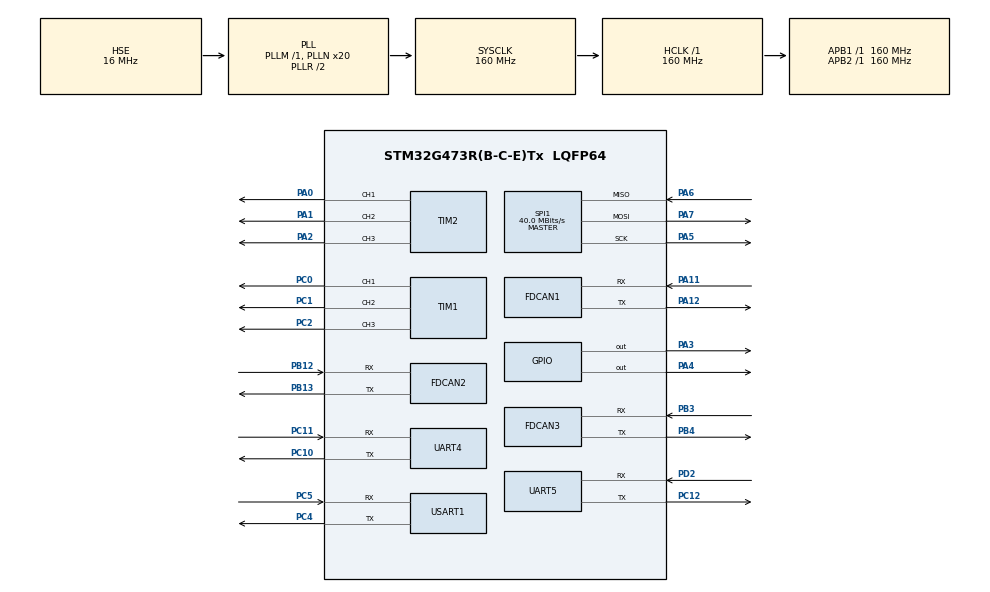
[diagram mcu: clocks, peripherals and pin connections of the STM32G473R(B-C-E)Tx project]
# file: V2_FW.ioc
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FDCAN1.AutoRetransmission=ENABLE
FDCAN1.CalculateBaudRateNominal=1000000
FDCAN1.CalculateTimeBitNominal=1000
FDCAN1.CalculateTimeQuantumNominal=100.0
FDCAN1.ExtFiltersNbr=1
FDCAN1.NominalPrescaler=16
FDCAN1.NominalTimeSeg1=8
FDCAN1.StdFiltersNbr=1
FDCAN2.AutoRetransmission=ENABLE
FDCAN2.CalculateBaudRateNominal=1000000
FDCAN2.CalculateTimeBitNominal=1000
FDCAN2.CalculateTimeQuantumNominal=100.0
FDCAN2.ExtFiltersNbr=1
FDCAN2.NominalPrescaler=16
FDCAN2.NominalTimeSeg1=8
FDCAN2.StdFiltersNbr=1
FDCAN3.AutoRetransmission=ENABLE
FDCAN3.CalculateBaudRateNominal=1000000
FDCAN3.CalculateTimeBitNominal=1000
FDCAN3.CalculateTimeQuantumNominal=100.0
FDCAN3.ExtFiltersNbr=1
FDCAN3.NominalPrescaler=16
FDCAN3.NominalTimeSeg1=8
FDCAN3.StdFiltersNbr=1
Mcu.Family=STM32G4
Mcu.Name=STM32G473R(B-C-E)Tx
Mcu.Package=LQFP64
NVIC.FDCAN1_IT0_IRQn=true\:0\:0\:false\:false\:true\:true\:true\:true
NVIC.FDCAN1_IT1_IRQn=true\:0\:0\:false\:false\:true\:true\:true\:true
NVIC.FDCAN2_IT0_IRQn=true\:0\:0\:false\:false\:true\:true\:true\:true
NVIC.FDCAN2_IT1_IRQn=true\:0\:0\:false\:false\:true\:true\:true\:true
NVIC.FDCAN3_IT0_IRQn=true\:0\:0\:false\:false\:true\:true\:true\:true
NVIC.FDCAN3_IT1_IRQn=true\:0\:0\:false\:false\:true\:true\:true\:true
NVIC.PriorityGroup=NVIC_PRIORITYGROUP_4
PA0.Signal=S_TIM2_CH1
PA1.Signal=S_TIM2_CH2
PA11.Mode=FDCAN_Activate
PA11.Signal=FDCAN1_RX
PA12.Mode=FDCAN_Activate
PA12.Signal=FDCAN1_TX
PA13.Mode=Serial_Wire
PA13.Signal=SYS_JTMS-SWDIO
PA14.Mode=Serial_Wire
PA14.Signal=SYS_JTCK-SWCLK
PA2.Signal=S_TIM2_CH3
PA3.Signal=GPIO_Output
PA4.GPIO_Speed=GPIO_SPEED_FREQ_VERY_HIGH
PA4.Signal=GPIO_Output
PA5.GPIO_Speed=GPIO_SPEED_FREQ_VERY_HIGH
PA5.Mode=Full_Duplex_Master
PA5.Signal=SPI1_SCK
PA6.GPIO_Speed=GPIO_SPEED_FREQ_VERY_HIGH
PA6.Mode=Full_Duplex_Master
PA6.Signal=SPI1_MISO
PA7.GPIO_Speed=GPIO_SPEED_FREQ_VERY_HIGH
PA7.Mode=Full_Duplex_Master
PA7.Signal=SPI1_MOSI
PB12.Mode=FDCAN_Activate
PB12.Signal=FDCAN2_RX
PB13.Mode=FDCAN_Activate
PB13.Signal=FDCAN2_TX
PB3.Mode=FDCAN_Activate
PB3.Signal=FDCAN3_RX
PB4.Mode=FDCAN_Activate
PB4.Signal=FDCAN3_TX
PC0.Signal=S_TIM1_CH1
PC1.Signal=S_TIM1_CH2
PC10.Mode=Asynchronous
PC10.Signal=UART4_TX
PC11.Mode=Asynchronous
PC11.Signal=UART4_RX
PC12.Mode=Asynchronous
PC12.Signal=UART5_TX
PC2.Signal=S_TIM1_CH3
PC4.Mode=Asynchronous
PC4.Signal=USART1_TX
PC5.Mode=Asynchronous
PC5.Signal=USART1_RX
PD2.Mode=Asynchronous
PD2.Signal=UART5_RX
PF0-OSC_IN.Mode=HSE-External-Oscillator
PF0-OSC_IN.Signal=RCC_OSC_IN
PF1-OSC_OUT.Mode=HSE-External-Oscillator
PF1-OSC_OUT.Signal=RCC_OSC_OUT
ProjectManager.HeapSize=0x200
ProjectManager.StackSize=0x400
ProjectManager.TargetToolchain=Makefile
RCC.ADC12Freq_Value=160000000
RCC.ADC345Freq_Value=160000000
RCC.AHBFreq_Value=160000000
RCC.APB1Freq_Value=160000000
RCC.APB1TimFreq_Value=160000000
RCC.APB2Freq_Value=160000000
RCC.APB2TimFreq_Value=160000000
RCC.CortexFreq_Value=160000000
RCC.EXTERNAL_CLOCK_VALUE=12288000
RCC.HCLKFreq_Value=160000000
RCC.HSE_VALUE=16000000
RCC.HSI48_VALUE=48000000
RCC.HSI_VALUE=16000000
RCC.LSE_VALUE=32768
RCC.PLLN=20
RCC.PLLQ=RCC_PLLQ_DIV4
RCC.PLLSourceVirtual=RCC_PLLSOURCE_HSE
RCC.SYSCLKFreq_VALUE=160000000
RCC.SYSCLKSource=RCC_SYSCLKSOURCE_PLLCLK
RCC.USBFreq_Value=80000000
RCC.VCOOutputFreq_Value=320000000
SH.S_TIM1_CH1.0=TIM1_CH1,PWM Generation1 CH1
SH.S_TIM1_CH2.0=TIM1_CH2,PWM Generation2 CH2
SH.S_TIM1_CH3.0=TIM1_CH3,PWM Generation3 CH3
SH.S_TIM2_CH1.0=TIM2_CH1,PWM Generation1 CH1
SH.S_TIM2_CH2.0=TIM2_CH2,PWM Generation2 CH2
SH.S_TIM2_CH3.0=TIM2_CH3,PWM Generation3 CH3
SPI1.BaudRatePrescaler=SPI_BAUDRATEPRESCALER_4
SPI1.CLKPhase=SPI_PHASE_1EDGE
SPI1.CRCCalculation=SPI_CRCCALCULATION_DISABLE
SPI1.CalculateBaudRate=40.0 MBits/s
SPI1.DataSize=SPI_DATASIZE_8BIT
SPI1.Direction=SPI_DIRECTION_2LINES
SPI1.Mode=SPI_MODE_MASTER
SPI1.VirtualType=VM_MASTER
TIM1.Channel-PWM\ Generation1\ CH1=TIM_CHANNEL_1
TIM1.Channel-PWM\ Generation2\ CH2=TIM_CHANNEL_2
TIM1.Channel-PWM\ Generation3\ CH3=TIM_CHANNEL_3
TIM2.Channel-PWM\ Generation1\ CH1=TIM_CHANNEL_1
TIM2.Channel-PWM\ Generation2\ CH2=TIM_CHANNEL_2
TIM2.Channel-PWM\ Generation3\ CH3=TIM_CHANNEL_3
USART1.VirtualMode-Asynchronous=VM_ASYNC
VP_SYS_VS_DBSignals.Mode=DisableDeadBatterySignals
board=custom

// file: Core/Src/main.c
/* USER CODE BEGIN Header */
/**
 ******************************************************************************
 * @file           : main.c
 * @brief          : Main program body
 ******************************************************************************
 * @attention
 *
 * Copyright (c) 2026 STMicroelectronics.
 * All rights reserved.
 *
 * This software is licensed under terms that can be found in the LICENSE file
 * in the root directory of this software component.
 * If no LICENSE file comes with this software, it is provided AS-IS.
 *
 ******************************************************************************
 */
/* USER CODE END Header */
#include "main.h"
#include "fdcan.h"
#include "spi.h"
#include "tim.h"
#include "usart.h"
#include "gpio.h"

/* USER CODE BEGIN Includes */
#include "wizchip_conf.h"
#include "socket.h"
#include "w5500_port.h"
#include "can_gateway.h"
#include <string.h>
#include <stdio.h>
/* USER CODE END Includes */

/* USER CODE BEGIN PV */
extern volatile uint32_t systick_irq_count; /* stm32g4xx_it.c で定義 */
wiz_NetInfo gWIZNETINFO = {
    .mac = {0x00, 0x08, 0xDC, 0x12, 0x34, 0x56},
    .ip = {192, 168, 1, 100},
    .sn = {255, 255, 255, 0},
    .gw = {192, 168, 1, 1},
    .dns = {8, 8, 8, 8},
    .dhcp = NETINFO_STATIC};

#define SOCK_TCPS 0
#define PORT_TCPS 5000
#define DATA_BUF_SIZE 2048
uint8_t gDATABUF[DATA_BUF_SIZE];
/* USER CODE END PV */

void SystemClock_Config(void);
/* USER CODE BEGIN PFP */
void W5500_Init(void);
/* USER CODE END PFP */

/* USER CODE BEGIN 0 */

/* -----------------------------------------------------------------------
 * DWT サイクルカウンタによる HAL_GetTick / HAL_Delay オーバーライド
 * SysTick 割り込み不要のため絶対にハングしない
 * ----------------------------------------------------------------------- */
// static void DWT_Init(void)
// {
//     CoreDebug->DEMCR |= CoreDebug_DEMCR_TRCENA_Msk;
//     DWT->CYCCNT = 0;
//     DWT->CTRL |= DWT_CTRL_CYCCNTENA_Msk;
// }

// static volatile uint32_t dwt_ms_ovf = 0;
// static volatile uint32_t dwt_last = 0;

// uint32_t HAL_GetTick(void)
// {
//     uint32_t cyc = DWT->CYCCNT;
//     if (cyc < dwt_last)
//         dwt_ms_ovf++;
//     dwt_last = cyc;
//     uint64_t total = ((uint64_t)dwt_ms_ovf << 32) | cyc;
//     return (uint32_t)(total / (SystemCoreClock / 1000U));
// }

// void HAL_Delay(uint32_t Delay)
// {
//     uint32_t start = DWT->CYCCNT;
//     uint32_t cycles = Delay * (SystemCoreClock / 1000U);
//     while ((DWT->CYCCNT - start) < cycles)
//         ;
// }
/* ----------------------------------------------------------------------- */

/**
 * @brief  TCP Echo Server (Loopback)
 * @param  sn: Socket number
 * @param  buf: Data buffer
 * @param  port: Port number
 * @retval Received data size
 */
int32_t loopback_tcps(uint8_t sn, uint8_t *buf, uint16_t port)
{
    int32_t ret;
    uint16_t size = 0, sentsize = 0;
    static uint8_t last_status = 0xFF;
    uint8_t current_status = getSn_SR(sn);

    // Display status change
    if (current_status != last_status)
    {
        printf("Socket status changed: 0x%02X\r\n", current_status);
        last_status = current_status;
    }

    switch (current_status)
    {
    case SOCK_ESTABLISHED:
        if (getSn_IR(sn) & Sn_IR_CON)
        {
            printf("Client connected!\r\n");
            uint8_t destip[4];
            uint16_t destport;
            getSn_DIPR(sn, destip);
            destport = getSn_DPORT(sn);
            printf("Connected from: %d.%d.%d.%d:%d\r\n",
                   destip[0], destip[1], destip[2], destip[3], destport);
            setSn_IR(sn, Sn_IR_CON);
        }

        // Check received data size
        if ((size = getSn_RX_RSR(sn)) > 0)
        {
            if (size > DATA_BUF_SIZE)
                size = DATA_BUF_SIZE;
            ret = recv(sn, buf, size);

            if (ret <= 0)
            {
                printf("Receive error: %d\r\n", ret);
                return ret;
            }

            printf("Received %d bytes: ", ret);
            for (int i = 0; i < ret && i < 64; i++)
            {
                if (buf[i] >= 32 && buf[i] < 127)
                    printf("%c", buf[i]);
                else
                    printf(".");
            }
            printf("\r\n");

            // Echo back received data
            sentsize = 0;
            while (size != sentsize)
            {
                ret = send(sn, buf + sentsize, size - sentsize);
                if (ret < 0)
                {
                    printf("Send error: %d\r\n", ret);
                    close(sn);
                    return ret;
                }
                sentsize += ret;
            }
            printf("Sent %d bytes\r\n", sentsize);
        }
        break;

    case SOCK_CLOSE_WAIT:
        printf("Client disconnect request\r\n");
        if ((ret = disconnect(sn)) != SOCK_OK)
            return ret;
        printf("Disconnected\r\n");
        break;

    case SOCK_INIT:
        printf("Start listening (port:%d)\r\n", port);
        if ((ret = listen(sn)) != SOCK_OK)
        {
            printf("Listen failed: %d\r\n", ret);
            return ret;
        }
        printf("Waiting for connection...\r\n");
        break;

    case SOCK_CLOSED:
        printf("Create socket (port:%d)\r\n", port);
        if ((ret = socket(sn, Sn_MR_TCP, port, 0x00)) != sn)
        {
            printf("Socket creation failed: %d\r\n", ret);
            return ret;
        }
        break;

    default:
        break;
    }

    return 1;
}

void W5500_Init(void)
{
    uint8_t tmp;
    uint8_t memsize[2][8] = {{16, 0, 0, 0, 0, 0, 0, 0}, {16, 0, 0, 0, 0, 0, 0, 0}};

    printf("\r\n=== W5500 Initialization Start ===\r\n");

    // SPI Test
    printf("SPI communication test...\r\n");
    if (W5500_SPI_Test())
    {
        printf("SPI communication: OK\r\n");
    }
    else
    {
        printf("ERROR: SPI communication failed\r\n");
        while (1)
            ;
    }

    // W5500 Hardware Reset
    printf("W5500 hardware reset...\r\n");
    W5500_HW_Reset();
    printf("Reset complete\r\n");

    // Deselect CS
    W5500_Deselect();

    // Register callback functions
    printf("Registering callback functions...\r\n");
    reg_wizchip_cs_cbfunc(W5500_Select, W5500_Deselect);
    reg_wizchip_spi_cbfunc(W5500_ReadByte, W5500_WriteByte);
    reg_wizchip_spiburst_cbfunc(W5500_ReadBuf, W5500_WriteBuf);
    printf("Callback registration complete\r\n");

    // W5500 Chip initialization
    printf("W5500 chip initialization...\r\n");
    if (ctlwizchip(CW_INIT_WIZCHIP, (void *)memsize) == -1)
    {
        printf("ERROR: Chip initialization failed\r\n");
        while (1)
            ;
    }
    printf("Chip initialization complete\r\n");

    HAL_Delay(100);

    // PHY Link status check (wait indefinitely)
    printf("Checking PHY link status...\r\n");
    {
        uint32_t retry = 0;
        do
        {
            if (ctlwizchip(CW_GET_PHYLINK, (void *)&tmp) == -1)
            {
                printf("ERROR: Failed to get PHY link status\r\n");
                HAL_Delay(500);
                continue;
            }
            if (tmp == PHY_LINK_OFF)
            {
                retry++;
                if (retry % 10 == 1) // 5秒ごとにメッセージ表示
                {
                    printf("Waiting for PHY link... (%lus elapsed)\r\n",
                           retry / 2);
                }
                HAL_Delay(500);
            }
        } while (tmp == PHY_LINK_OFF);
    }
    printf("PHY link established!\r\n");

    // Network configuration
    printf("Configuring network...\r\n");
    ctlnetwork(CN_SET_NETINFO, (void *)&gWIZNETINFO);

    // TCP retry: RCR=1 (1 retry), RTR=100 (10ms timeout per retry)
    setRCR(1);
    setRTR(100);

    // Verify configuration
    wiz_NetInfo tmp_info;
    ctlnetwork(CN_GET_NETINFO, (void *)&tmp_info);

    printf("\r\n--- Network Configuration ---\r\n");
    printf("MAC: %02X:%02X:%02X:%02X:%02X:%02X\r\n",
           tmp_info.mac[0], tmp_info.mac[1], tmp_info.mac[2],
           tmp_info.mac[3], tmp_info.mac[4], tmp_info.mac[5]);
    printf("IP: %d.%d.%d.%d\r\n",
           tmp_info.ip[0], tmp_info.ip[1], tmp_info.ip[2], tmp_info.ip[3]);
    printf("SN: %d.%d.%d.%d\r\n",
           tmp_info.sn[0], tmp_info.sn[1], tmp_info.sn[2], tmp_info.sn[3]);
    printf("GW: %d.%d.%d.%d\r\n",
           tmp_info.gw[0], tmp_info.gw[1], tmp_info.gw[2], tmp_info.gw[3]);
    printf("=== W5500 Initialization Complete ===\r\n\r\n");

    // W5500 chip version check
    printf("--- Chip Information ---\r\n");
    uint8_t version = getVERSIONR();
    printf("W5500 Version: 0x%02X\r\n", version);

    // Register read/write test
    printf("\r\n--- Register Test ---\r\n");
    wiz_NetInfo read_info;
    ctlnetwork(CN_GET_NETINFO, (void *)&read_info);
    printf("Read test - IP: %d.%d.%d.%d\r\n",
           read_info.ip[0], read_info.ip[1], read_info.ip[2], read_info.ip[3]);

    // Socket 0 status check
    uint8_t sock_status = getSn_SR(0);
    printf("Socket 0 initial status: 0x%02X\r\n", sock_status);

    // PHY configuration check
    uint8_t phycfgr = getPHYCFGR();
    printf("\r\n--- PHY Configuration ---\r\n");
    printf("PHYCFGR: 0x%02X\r\n", phycfgr);
    if (phycfgr & 0x01)
    {
        printf("Link status: UP\r\n");
    }
    else
    {
        printf("Link status: DOWN\r\n");
    }

    printf("\r\n[IMPORTANT] W5500 does not support ICMP (ping)\r\n");
    printf("Please test with TCP connection instead of ping:\r\n");
    printf("  telnet %d.%d.%d.%d %d\r\n",
           tmp_info.ip[0], tmp_info.ip[1], tmp_info.ip[2], tmp_info.ip[3], PORT_TCPS);
    printf("or\r\n");
    printf("  nc %d.%d.%d.%d %d\r\n",
           tmp_info.ip[0], tmp_info.ip[1], tmp_info.ip[2], tmp_info.ip[3], PORT_TCPS);
    printf("-----------------------------\r\n\r\n");
}
/* USER CODE END 0 */

int main(void)
{

    /* MCU Configuration--------------------------------------------------------*/

    /* Reset of all peripherals, Initializes the Flash interface and the Systick. */
    HAL_Init();

    /* USER CODE BEGIN Init */
    SCB->VTOR = FLASH_BASE; /* ベクタテーブルを Flash (0x08000000) に明示設定 */
    /* USER CODE END Init */

    /* Configure the system clock */
    SystemClock_Config();

    /* Initialize all configured peripherals */
    MX_GPIO_Init();
    MX_FDCAN1_Init();
    MX_FDCAN2_Init();
    MX_FDCAN3_Init();
    MX_SPI1_Init();
    MX_TIM1_Init();
    MX_TIM2_Init();
    MX_UART4_Init();
    MX_UART5_Init();
    MX_USART1_UART_Init();
    /* USER CODE BEGIN 2 */

    W5500_Init();
    printf("W5500 Initialization Complete\r\n");

    printf("CAN Gateway Initialization Start\r\n");
    CAN_Gateway_Init();

    // FDCAN開始
    printf("Starting FDCAN interfaces...\r\n");
    HAL_FDCAN_Start(&hfdcan1);
    HAL_FDCAN_Start(&hfdcan2);
    HAL_FDCAN_Start(&hfdcan3);

    // FDCAN RX割り込み有効化
    HAL_FDCAN_ActivateNotification(&hfdcan1, FDCAN_IT_RX_FIFO0_NEW_MESSAGE, 0);
    HAL_FDCAN_ActivateNotification(&hfdcan2, FDCAN_IT_RX_FIFO0_NEW_MESSAGE, 0);
    HAL_FDCAN_ActivateNotification(&hfdcan3, FDCAN_IT_RX_FIFO0_NEW_MESSAGE, 0);
    printf("FDCAN interfaces started\r\n");

    printf("\r\n========================================\r\n");
    printf("CAN-Ethernet Gateway Ready!\r\n");
    printf("IP: %d.%d.%d.%d\r\n",
           gWIZNETINFO.ip[0], gWIZNETINFO.ip[1],
           gWIZNETINFO.ip[2], gWIZNETINFO.ip[3]);
    printf("Port: 5000\r\n");
    printf("Channels: FDCAN1, FDCAN2, FDCAN3\r\n");
    printf("========================================\r\n\r\n");
    /* USER CODE END 2 */

    /* Infinite loop */
    while (1)
    {
        CAN_Gateway_Process();
    }
}

void SystemClock_Config(void)
{
    RCC_OscInitTypeDef RCC_OscInitStruct = {0};
    RCC_ClkInitTypeDef RCC_ClkInitStruct = {0};

    /** Configure the main internal regulator output voltage
     */
    HAL_PWREx_ControlVoltageScaling(PWR_REGULATOR_VOLTAGE_SCALE1_BOOST);

    /** Initializes the RCC Oscillators according to the specified parameters
     * in the RCC_OscInitTypeDef structure.
     */
    RCC_OscInitStruct.OscillatorType = RCC_OSCILLATORTYPE_HSE;
    RCC_OscInitStruct.HSEState = RCC_HSE_ON;
    RCC_OscInitStruct.PLL.PLLState = RCC_PLL_ON;
    RCC_OscInitStruct.PLL.PLLSource = RCC_PLLSOURCE_HSE;
    RCC_OscInitStruct.PLL.PLLM = RCC_PLLM_DIV1;
    RCC_OscInitStruct.PLL.PLLN = 20;
    RCC_OscInitStruct.PLL.PLLP = RCC_PLLP_DIV2;
    RCC_OscInitStruct.PLL.PLLQ = RCC_PLLQ_DIV4;
    RCC_OscInitStruct.PLL.PLLR = RCC_PLLR_DIV2;
    if (HAL_RCC_OscConfig(&RCC_OscInitStruct) != HAL_OK)
    {
        Error_Handler();
    }

    /** Initializes the CPU, AHB and APB buses clocks
     */
    RCC_ClkInitStruct.ClockType = RCC_CLOCKTYPE_HCLK | RCC_CLOCKTYPE_SYSCLK | RCC_CLOCKTYPE_PCLK1 | RCC_CLOCKTYPE_PCLK2;
    RCC_ClkInitStruct.SYSCLKSource = RCC_SYSCLKSOURCE_PLLCLK;
    RCC_ClkInitStruct.AHBCLKDivider = RCC_SYSCLK_DIV1;
    RCC_ClkInitStruct.APB1CLKDivider = RCC_HCLK_DIV1;
    RCC_ClkInitStruct.APB2CLKDivider = RCC_HCLK_DIV1;

    if (HAL_RCC_ClockConfig(&RCC_ClkInitStruct, FLASH_LATENCY_4) != HAL_OK)
    {
        Error_Handler();
    }
}

/* USER CODE BEGIN 4 */
void HAL_FDCAN_RxFifo0Callback(FDCAN_HandleTypeDef *hfdcan, uint32_t RxFifo0ITs)
{
    if ((RxFifo0ITs & FDCAN_IT_RX_FIFO0_NEW_MESSAGE) != 0)
    {
        FDCAN_RxHeaderTypeDef rx_header;
        uint8_t rx_data[64];

        memset(&rx_header, 0, sizeof(rx_header));

        if (HAL_FDCAN_GetRxMessage(hfdcan, FDCAN_RX_FIFO0, &rx_header, rx_data) == HAL_OK)
        {
            uint8_t gw_channel = 0xFF;
            if (hfdcan->Instance == FDCAN1)
                gw_channel = 0;
            else if (hfdcan->Instance == FDCAN2)
                gw_channel = 1;
            else if (hfdcan->Instance == FDCAN3)
                gw_channel = 2;

            if (gw_channel != 0xFF)
            {
                CAN_Gateway_OnCANReceived(gw_channel, &rx_header, rx_data);
            }
        }
    }
}

/* USER CODE END 4 */

void Error_Handler(void)
{
    __disable_irq();
    while (1)
    {
    }
}
